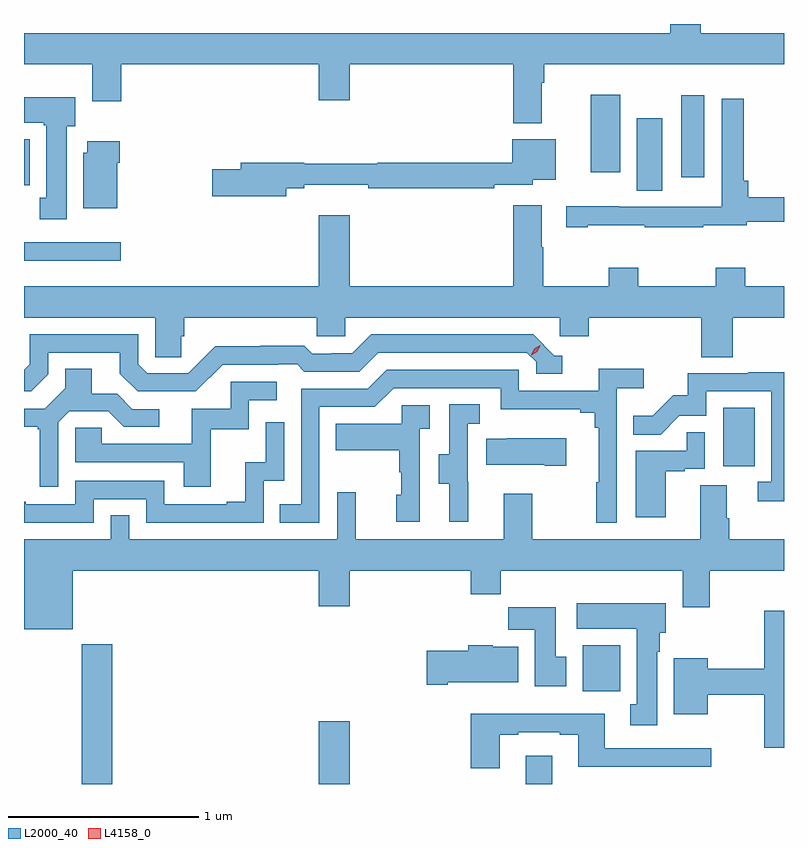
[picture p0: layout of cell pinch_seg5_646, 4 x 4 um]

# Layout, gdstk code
import gdstk
lib = gdstk.Library(unit=1e-6, precision=1e-09)
def R(c, l, rs):  # rectangles x0, y0, x1, y1
    for r in rs: c.add(gdstk.rectangle(r[:2], r[2:], *l))
def P(c, l, *ps):  # polygons
    for p in ps: c.add(gdstk.Polygon(p, *l))
L2000_40 = (2000, 40)
L4158_0 = (4158, 0)

pinch_seg5_646 = lib.new_cell('pinch_seg5_646')
R(pinch_seg5_646, L2000_40, [(1074.85,844.981,1075.01,845.716), (1076.096,844.981,1076.26,845.311), (1077.185,844.981,1077.325,845.131), (1077.485,845.468,1077.682,845.71), (1078.226,846.654,1078.39,846.961), (1074.545,847.736,1075.054,847.833), (1077.77,848.104,1077.904,848.485), (1074.545,848.132,1074.574,848.374), (1078.004,848.175,1078.126,848.605), (1077.527,848.202,1077.682,848.608)])
P(pinch_seg5_646, L2000_40, [(1077.271,848.672),(1077.284,848.672),(1077.284,848.768),(1078.545,848.768),(1078.545,848.932),(1078.107,848.932),(1078.107,848.981),(1077.947,848.981),(1077.947,848.932),(1074.545,848.932),(1074.545,848.768),(1074.905,848.768),(1074.905,848.574),(1075.058,848.574),(1075.058,848.768),(1076.096,848.768),(1076.096,848.58),(1076.26,848.58),(1076.26,848.768),(1077.119,848.768),(1077.119,848.459),(1077.271,848.459)],
  [(1074.769,848.442),(1074.814,848.442),(1074.814,848.596),(1074.545,848.596),(1074.545,848.462),(1074.649,848.462),(1074.649,848.449),(1074.662,848.449),(1074.662,848.066),(1074.629,848.066),(1074.629,847.953),(1074.769,847.953)],
  [(1077.511,847.921),(1077.811,847.921),(1077.811,847.911),(1078.121,847.911),(1078.121,847.921),(1078.348,847.921),(1078.348,847.941),(1078.545,847.941),(1078.545,848.069),(1078.356,848.069),(1078.356,848.155),(1078.334,848.155),(1078.334,848.587),(1078.218,848.587),(1078.218,848.02),(1078.008,848.02),(1078.008,848.019),(1077.674,848.019),(1077.674,848.021),(1077.399,848.021),(1077.399,847.911),(1077.511,847.911)],
  [(1075.924,848.116),(1076.02,848.116),(1076.02,848.135),(1076.356,848.135),(1076.356,848.116),(1077.02,848.116),(1077.02,848.136),(1077.222,848.136),(1077.222,848.162),(1077.343,848.162),(1077.343,848.374),(1077.116,848.374),(1077.116,848.252),(1076.405,848.252),(1076.405,848.245),(1076.02,848.245),(1076.02,848.252),(1075.685,848.252),(1075.685,848.216),(1075.536,848.216),(1075.536,848.074),(1075.924,848.074)],
  [(1075.036,848.252),(1075.049,848.252),(1075.049,848.365),(1074.878,848.365),(1074.878,848.304),(1074.857,848.304),(1074.857,848.012),(1075.036,848.012)],
  [(1075.373,847.338),(1075.388,847.338),(1075.388,847.436),(1076.085,847.436),(1076.085,847.338),(1076.235,847.338),(1076.235,847.436),(1077.366,847.436),(1077.366,847.338),(1077.518,847.338),(1077.518,847.436),(1078.109,847.436),(1078.109,847.228),(1078.274,847.228),(1078.274,847.436),(1078.545,847.436),(1078.545,847.6),(1078.341,847.6),(1078.341,847.699),(1078.186,847.699),(1078.186,847.6),(1077.777,847.6),(1077.777,847.699),(1077.622,847.699),(1077.622,847.6),(1077.279,847.6),(1077.279,847.805),(1077.271,847.805),(1077.271,848.026),(1077.119,848.026),(1077.119,847.6),(1076.26,847.6),(1076.26,847.975),(1076.096,847.975),(1076.096,847.6),(1074.545,847.6),(1074.545,847.436),(1075.236,847.436),(1075.236,847.228),(1075.373,847.228)],
  [(1074.672,847.137),(1074.672,847.251),(1075.049,847.251),(1075.049,847.141),(1075.143,847.047),(1075.449,847.047),(1075.59,847.188),(1075.883,847.188),(1075.883,847.191),(1075.982,847.191),(1076.021,847.152),(1076.31,847.152),(1076.409,847.251),(1077.192,847.251),(1077.24,847.203),(1077.24,847.14),(1077.379,847.14),(1077.379,847.236),(1077.336,847.236),(1077.225,847.347),(1076.372,847.347),(1076.273,847.248),(1076.166,847.248),(1076.166,847.245),(1076.063,847.245),(1076.021,847.288),(1075.788,847.288),(1075.788,847.285),(1075.552,847.285),(1075.41,847.143),(1075.194,847.143),(1075.146,847.191),(1075.146,847.347),(1074.576,847.347),(1074.576,847.191),(1074.545,847.16),(1074.545,847.047),(1074.582,847.047)],
  [(1076.1,846.966),(1076.391,846.966),(1076.49,847.065),(1077.054,847.065),(1077.054,846.953),(1077.473,846.953),(1077.473,846.934),(1077.55,846.934),(1077.55,846.857),(1077.569,846.857),(1077.569,846.569),(1077.558,846.569),(1077.558,846.357),(1077.666,846.357),(1077.666,847.064),(1077.808,847.064),(1077.808,847.166),(1077.569,847.166),(1077.569,847.05),(1077.15,847.05),(1077.15,847.161),(1076.453,847.161),(1076.354,847.062),(1076.004,847.062),(1076.004,846.453),(1075.891,846.453),(1075.891,846.357),(1076.1,846.357)],
  [(1074.726,846.885),(1074.783,846.942),(1074.989,846.942),(1075.07,846.861),(1075.258,846.861),(1075.258,846.954),(1075.116,846.954),(1075.036,847.034),(1074.901,847.034),(1074.901,847.166),(1074.761,847.166),(1074.761,847.064),(1074.654,846.957),(1074.545,846.957),(1074.545,846.86),(1074.618,846.86),(1074.618,846.849),(1074.629,846.849),(1074.629,846.546),(1074.726,846.546)],
  [(1078.545,847.148),(1078.357,847.148),(1078.357,847.143),(1078.039,847.143),(1078.039,847.026),(1077.962,847.026),(1077.855,846.919),(1077.751,846.919),(1077.751,846.82),(1077.895,846.82),(1077.993,846.918),(1078.137,846.918),(1078.137,847.047),(1078.479,847.047),(1078.479,846.573),(1078.407,846.573),(1078.407,846.468),(1078.545,846.468)],
  [(1075.529,846.849),(1075.728,846.849),(1075.728,847.002),(1075.876,847.002),(1075.876,847.098),(1075.632,847.098),(1075.632,846.957),(1075.427,846.957),(1075.427,846.771),(1074.953,846.771),(1074.953,846.855),(1074.816,846.855),(1074.816,846.675),(1075.385,846.675),(1075.385,846.546),(1075.529,846.546)],
  [(1076.882,846.573),(1076.88,846.573),(1076.88,846.877),(1076.944,846.877),(1076.944,846.98),(1076.784,846.98),(1076.784,846.717),(1076.729,846.717),(1076.729,846.562),(1076.783,846.562),(1076.783,846.36),(1076.882,846.36)],
  [(1076.628,846.851),(1076.68,846.851),(1076.68,846.975),(1076.532,846.975),(1076.532,846.877),(1076.185,846.877),(1076.185,846.737),(1076.52,846.737),(1076.52,846.623),(1076.53,846.623),(1076.53,846.504),(1076.504,846.504),(1076.504,846.36),(1076.628,846.36)],
  [(1074.912,846.48),(1075.188,846.48),(1075.188,846.357),(1075.806,846.357),(1075.806,846.576),(1075.914,846.576),(1075.914,846.886),(1075.818,846.886),(1075.818,846.674),(1075.709,846.674),(1075.709,846.466),(1075.613,846.466),(1075.613,846.453),(1075.284,846.453),(1075.284,846.576),(1074.816,846.576),(1074.816,846.453),(1074.553,846.453),(1074.553,846.466),(1074.545,846.466),(1074.545,846.357),(1074.912,846.357)],
  [(1077.922,846.627),(1078.022,846.627),(1078.022,846.639),(1078.128,846.639),(1078.128,846.833),(1078.033,846.833),(1078.033,846.735),(1077.764,846.735),(1077.764,846.384),(1077.922,846.384)],
  [(1077.4,846.802),(1077.085,846.802),(1077.085,846.799),(1076.977,846.799),(1076.977,846.662),(1077.287,846.662),(1077.287,846.655),(1077.4,846.655)],
  [(1074.802,846.104),(1076.096,846.104),(1076.096,845.916),(1076.26,845.916),(1076.26,846.104),(1076.897,846.104),(1076.897,845.98),(1077.053,845.98),(1077.053,846.104),(1078.013,846.104),(1078.013,845.91),(1078.153,845.91),(1078.153,846.104),(1078.545,846.104),(1078.545,846.268),(1078.256,846.268),(1078.256,846.38),(1078.243,846.38),(1078.243,846.554),(1078.103,846.554),(1078.103,846.268),(1077.219,846.268),(1077.219,846.508),(1077.071,846.508),(1077.071,846.268),(1076.291,846.268),(1076.291,846.517),(1076.193,846.517),(1076.193,846.268),(1075.098,846.268),(1075.098,846.395),(1075.002,846.395),(1075.002,846.268),(1074.545,846.268),(1074.545,845.795),(1074.802,845.795)],
  [(1077.877,845.678),(1077.892,845.678),(1077.892,845.778),(1077.922,845.778),(1077.922,845.932),(1077.453,845.932),(1077.453,845.798),(1077.77,845.798),(1077.77,845.402),(1077.737,845.402),(1077.737,845.289),(1077.877,845.289)],
  [(1077.4,845.652),(1077.343,845.652),(1077.343,845.911),(1077.094,845.911),(1077.094,845.792),(1077.233,845.792),(1077.233,845.496),(1077.4,845.496)],
  [(1078.545,845.893),(1078.442,845.893),(1078.442,845.588),(1078.144,845.588),(1078.144,845.644),(1077.965,845.644),(1077.965,845.348),(1078.144,845.348),(1078.144,845.452),(1078.442,845.452),(1078.442,845.172),(1078.545,845.172)],
  [(1076.776,845.516),(1077.145,845.516),(1077.145,845.704),(1077.012,845.704),(1077.012,845.71),(1076.882,845.71),(1076.882,845.682),(1076.664,845.682),(1076.664,845.504),(1076.776,845.504)],
  [(1077.049,845.241),(1077.145,845.241),(1077.145,845.253),(1077.365,845.253),(1077.365,845.241),(1077.461,845.241),(1077.461,845.072),(1078.162,845.072),(1078.162,845.169),(1077.601,845.169),(1077.601,845.35),(1076.897,845.35),(1076.897,845.064),(1077.049,845.064)])
P(pinch_seg5_646, L4158_0, [(1077.215,847.238),(1077.215,847.238),(1077.231,847.271),(1077.262,847.29),(1077.262,847.29),(1077.262,847.29),(1077.246,847.257),(1077.215,847.238)])

lib.write_gds('pinch_seg5_646.gds')
